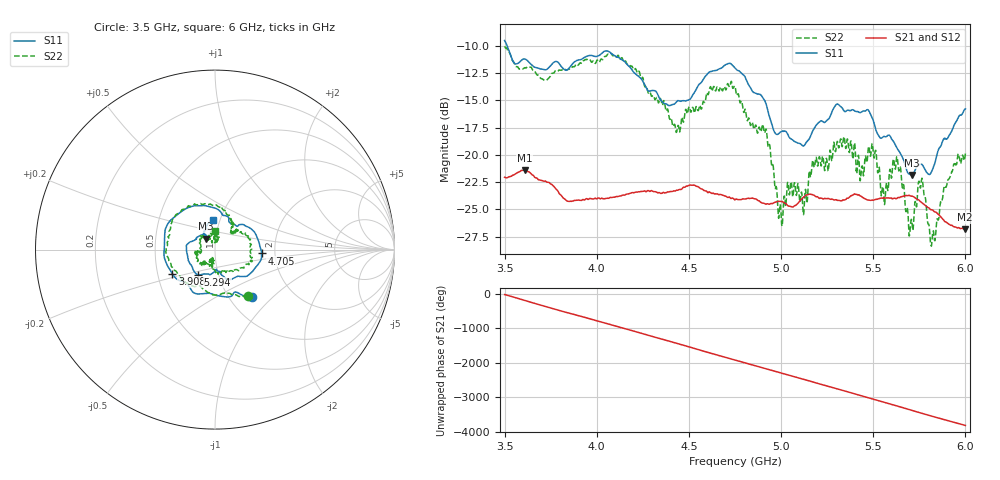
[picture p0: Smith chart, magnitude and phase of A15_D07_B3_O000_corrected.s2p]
! Created with skrf 1.9.0 (http://scikit-rf.org).
# Hz S RI R 50.0
!freq ReS11 ImS11 ReS21 ImS21 ReS12 ImS12 ReS22 ImS22
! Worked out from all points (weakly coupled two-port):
!   1601 points, 3.5 GHz to 6 GHz, reference 50 ohm
!   highest |S21| = -21.37 dB at 3.609 GHz (marker M1); lowest = -26.8 dB at 5.995 GHz (marker M2)
!   lowest |S11| = -21.8 dB at 5.711 GHz (marker M3), VSWR 1.18, Z = 44.7 + j5.56 ohm
!   |S11| at or under -10 dB: 3.514 GHz to end of sweep
!   |S22| runs from -28.4 to -10.0 dB; largest |S21 - S12| = 0.00098
!   S11 on the Smith chart (normalised r, x): 3.5 GHz: 1.26, -0.75; 3.908 GHz: 0.60, -0.17; 4.705 GHz: 1.70, -0.08; 5.294 GHz: 0.80, -0.23; 6 GHz: 0.93, +0.31
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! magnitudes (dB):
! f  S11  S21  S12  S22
! 3.5 GHz  -9.5  -22.0  -22.0  -10.0
! 3.609 GHz  -11.2  -21.4  -21.4  -12.0
! 3.908 GHz  -11.3  -24.2  -24.1  -11.6
! 3.917 GHz  -11.2  -24.2  -24.2  -11.6
! 4.108 GHz  -11.0  -23.8  -23.8  -11.0
! 4.334 GHz  -14.6  -23.5  -23.4  -15.2
! 4.441 GHz  -15.0  -23.2  -23.2  -17.3
! 4.705 GHz  -11.7  -23.8  -23.8  -13.8
! 4.75 GHz  -12.0  -24.1  -24.0  -13.8
! 4.911 GHz  -15.0  -24.5  -24.4  -18.0
! 4.997 GHz  -17.9  -24.3  -24.2  -24.7
! 5.045 GHz  -18.4  -24.7  -24.7  -23.7
! 5.13 GHz  -19.1  -23.8  -23.8  -23.4
! 5.167 GHz  -18.0  -23.6  -23.6  -21.1
! 5.294 GHz  -15.5  -24.1  -24.1  -19.7
! 5.584 GHz  -18.2  -24.0  -23.9  -22.4
! 5.638 GHz  -19.6  -23.9  -23.9  -21.3
! 5.711 GHz  -21.8  -23.8  -23.7  -26.4
! 5.758 GHz  -20.8  -24.3  -24.3  -22.9
! 5.823 GHz  -21.3  -25.1  -25.0  -27.1
! 5.995 GHz  -15.8  -26.8  -26.7  -20.4
! 6 GHz  -15.8  -26.8  -26.8  -19.9
